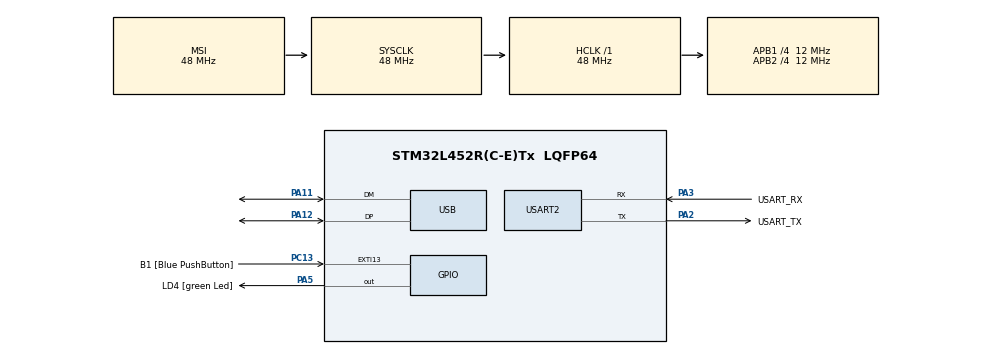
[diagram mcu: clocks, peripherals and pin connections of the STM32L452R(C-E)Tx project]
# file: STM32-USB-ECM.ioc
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FREERTOS.HEAP_NUMBER=3
FREERTOS.INCLUDE_uxTaskGetStackHighWaterMark2=1
FREERTOS.Tasks01=defaultTask,24,256,StartDefaultTask,Default,NULL,Static,defaultTaskBuffer,defaultTaskControlBlock;taskUSBReceive,8,256,StartTaskUSBReceive,Default,NULL,Static,taskUSBReceiveBuffer,taskUSBReceiveControlBlock
FREERTOS.configENABLE_BACKWARD_COMPATIBILITY=0
FREERTOS.configTOTAL_HEAP_SIZE=16000
FREERTOS.configUSE_NEWLIB_REENTRANT=1
FREERTOS.configUSE_POSIX_ERRNO=1
Mcu.Family=STM32L4
Mcu.Name=STM32L452R(C-E)Tx
Mcu.Package=LQFP64
NVIC.PriorityGroup=NVIC_PRIORITYGROUP_4
NVIC.TIM6_DAC_IRQn=true\:1\:0\:true\:false\:true\:false\:false\:true\:true
NVIC.TimeBase=TIM6_DAC_IRQn
NVIC.TimeBaseIP=TIM6
NVIC.USART2_IRQn=true\:6\:0\:true\:false\:true\:true\:true\:true\:true
NVIC.USB_IRQn=true\:7\:0\:true\:false\:true\:true\:true\:true\:true
PA11.Mode=Device
PA11.Signal=USB_DM
PA12.Mode=Device
PA12.Signal=USB_DP
PA13\ (JTMS/SWDIO).GPIO_Label=TMS
PA13\ (JTMS/SWDIO).Mode=Trace_Asynchronous_SW
PA13\ (JTMS/SWDIO).Signal=SYS_JTMS-SWDIO
PA14\ (JTCK/SWCLK).GPIO_Label=TCK
PA14\ (JTCK/SWCLK).Mode=Trace_Asynchronous_SW
PA14\ (JTCK/SWCLK).Signal=SYS_JTCK-SWCLK
PA2.GPIO_Label=USART_TX
PA2.GPIO_Mode=GPIO_MODE_AF_PP
PA2.GPIO_PuPd=GPIO_NOPULL
PA2.GPIO_Speed=GPIO_SPEED_FREQ_VERY_HIGH
PA2.Mode=Asynchronous
PA2.Signal=USART2_TX
PA3.GPIO_Label=USART_RX
PA3.GPIO_Mode=GPIO_MODE_AF_PP
PA3.GPIO_PuPd=GPIO_NOPULL
PA3.GPIO_Speed=GPIO_SPEED_FREQ_VERY_HIGH
PA3.Mode=Asynchronous
PA3.Signal=USART2_RX
PA5.GPIO_Label=LD4 [green Led]
PA5.GPIO_ModeDefaultOutputPP=GPIO_MODE_OUTPUT_PP
PA5.GPIO_PuPd=GPIO_NOPULL
PA5.GPIO_Speed=GPIO_SPEED_FREQ_LOW
PA5.Signal=GPIO_Output
PB3\ (JTDO/TRACESWO).GPIO_Label=SWO
PB3\ (JTDO/TRACESWO).Mode=Trace_Asynchronous_SW
PB3\ (JTDO/TRACESWO).Signal=SYS_JTDO-SWO
PC13.GPIO_Label=B1 [Blue PushButton]
PC13.GPIO_ModeDefaultEXTI=GPIO_MODE_IT_FALLING
PC13.GPIO_PuPd=GPIO_NOPULL
PC13.Signal=GPXTI13
PC14-OSC32_IN\ (PC14).Signal=RCC_OSC32_IN
PC15-OSC32_OUT\ (PC15).Signal=RCC_OSC32_OUT
PH0-OSC_IN\ (PH0).Signal=RCC_OSC_IN
PH1-OSC_OUT\ (PH1).Signal=RCC_OSC_OUT
ProjectManager.HeapSize=0x200
ProjectManager.StackSize=0x400
ProjectManager.TargetToolchain=STM32CubeIDE
RCC.ADCFreq_Value=96000000
RCC.AHBFreq_Value=48000000
RCC.APB1CLKDivider=RCC_HCLK_DIV4
RCC.APB1Freq_Value=12000000
RCC.APB1TimFreq_Value=24000000
RCC.APB2CLKDivider=RCC_HCLK_DIV4
RCC.APB2Freq_Value=12000000
RCC.APB2TimFreq_Value=24000000
RCC.CK48CLockSelection=RCC_USBCLKSOURCE_HSI48
RCC.CortexFreq_Value=48000000
RCC.HCLKFreq_Value=48000000
RCC.HSE_VALUE=8000000
RCC.HSI48_VALUE=48000000
RCC.HSI_VALUE=16000000
RCC.LSE_VALUE=32768
RCC.MSIClockRange=RCC_MSIRANGE_11
RCC.MSI_VALUE=48000000
RCC.PLLN=12
RCC.PLLSAI1N=12
RCC.PLLSourceVirtual=RCC_PLLSOURCE_HSI
RCC.PREFETCH_ENABLE=1
RCC.SYSCLKFreq_VALUE=48000000
RCC.USBFreq_Value=48000000
RCC.VCOOutputFreq_Value=192000000
USART2.VirtualMode-Asynchronous=VM_ASYNC
USB_DEVICE.CLASS_NAME_FS=CDC
USB_DEVICE.PRODUCT_STRING_CDC_FS=STM32 USB ECM Ethernet
USB_DEVICE.USBD_SELF_POWERED=1
USB_DEVICE.VirtualMode=Cdc
USB_DEVICE.VirtualModeFS=Cdc_FS
VP_FREERTOS_VS_CMSIS_V2.Mode=CMSIS_V2
VP_RCC_USB.Mode=CRS SYNC Source USB
VP_SYS_VS_tim6.Mode=TIM6
VP_USB_DEVICE_VS_USB_DEVICE_CDC_FS.Mode=CDC_FS
board=NUCLEO-L452RE

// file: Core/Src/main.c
/* USER CODE BEGIN Header */
/**
  ******************************************************************************
  * @file           : main.c
  * @brief          : Main program body
  ******************************************************************************
  * @attention
  *
  * Copyright (c) 2023 STMicroelectronics.
  * All rights reserved.
  *
  * This software is licensed under terms that can be found in the LICENSE file
  * in the root directory of this software component.
  * If no LICENSE file comes with this software, it is provided AS-IS.
  *
  ******************************************************************************
  */
/* USER CODE END Header */
#include "main.h"
#include "cmsis_os.h"
#include "usart.h"
#include "usb_device.h"
#include "gpio.h"

/* USER CODE BEGIN Includes */
#include <stdlib.h>
#include "usbd_cdc_ecm_if.h"
/* USER CODE END Includes */

void SystemClock_Config(void);
void MX_FREERTOS_Init(void);

/* USER CODE BEGIN 0 */
int __io_putchar(int ch) {
	 ITM_SendChar(ch);
	 return ch;
}
/* USER CODE END 0 */

int main(void)
{
  /* USER CODE BEGIN 1 */
	srand(123457);
//	printf ("rand() = %d\n",rand());
  /* USER CODE END 1 */

  /* MCU Configuration--------------------------------------------------------*/

  /* Reset of all peripherals, Initializes the Flash interface and the Systick. */
  HAL_Init();

  /* Configure the system clock */
  SystemClock_Config();

  /* Initialize all configured peripherals */
  MX_GPIO_Init();
  MX_USART2_UART_Init();

  /* Init scheduler */
  osKernelInitialize();  /* Call init function for freertos objects (in freertos.c) */
  MX_FREERTOS_Init();

  /* Start scheduler */
  osKernelStart();

  /* We should never get here as control is now taken by the scheduler */
  /* Infinite loop */
  while (1)
  {

  }
}

void SystemClock_Config(void)
{
  RCC_OscInitTypeDef RCC_OscInitStruct = {0};
  RCC_ClkInitTypeDef RCC_ClkInitStruct = {0};
  RCC_CRSInitTypeDef RCC_CRSInitStruct = {0};

  /** Configure the main internal regulator output voltage
  */
  if (HAL_PWREx_ControlVoltageScaling(PWR_REGULATOR_VOLTAGE_SCALE1) != HAL_OK)
  {
    Error_Handler();
  }

  /** Initializes the RCC Oscillators according to the specified parameters
  * in the RCC_OscInitTypeDef structure.
  */
  RCC_OscInitStruct.OscillatorType = RCC_OSCILLATORTYPE_HSI48|RCC_OSCILLATORTYPE_MSI;
  RCC_OscInitStruct.HSI48State = RCC_HSI48_ON;
  RCC_OscInitStruct.MSIState = RCC_MSI_ON;
  RCC_OscInitStruct.MSICalibrationValue = 0;
  RCC_OscInitStruct.MSIClockRange = RCC_MSIRANGE_11;
  RCC_OscInitStruct.PLL.PLLState = RCC_PLL_NONE;
  if (HAL_RCC_OscConfig(&RCC_OscInitStruct) != HAL_OK)
  {
    Error_Handler();
  }

  /** Initializes the CPU, AHB and APB buses clocks
  */
  RCC_ClkInitStruct.ClockType = RCC_CLOCKTYPE_HCLK|RCC_CLOCKTYPE_SYSCLK
                              |RCC_CLOCKTYPE_PCLK1|RCC_CLOCKTYPE_PCLK2;
  RCC_ClkInitStruct.SYSCLKSource = RCC_SYSCLKSOURCE_MSI;
  RCC_ClkInitStruct.AHBCLKDivider = RCC_SYSCLK_DIV1;
  RCC_ClkInitStruct.APB1CLKDivider = RCC_HCLK_DIV4;
  RCC_ClkInitStruct.APB2CLKDivider = RCC_HCLK_DIV4;

  if (HAL_RCC_ClockConfig(&RCC_ClkInitStruct, FLASH_LATENCY_2) != HAL_OK)
  {
    Error_Handler();
  }

  /** Enable the SYSCFG APB clock
  */
  __HAL_RCC_CRS_CLK_ENABLE();

  /** Configures CRS
  */
  RCC_CRSInitStruct.Prescaler = RCC_CRS_SYNC_DIV1;
  RCC_CRSInitStruct.Source = RCC_CRS_SYNC_SOURCE_USB;
  RCC_CRSInitStruct.Polarity = RCC_CRS_SYNC_POLARITY_RISING;
  RCC_CRSInitStruct.ReloadValue = __HAL_RCC_CRS_RELOADVALUE_CALCULATE(48000000,1000);
  RCC_CRSInitStruct.ErrorLimitValue = 34;
  RCC_CRSInitStruct.HSI48CalibrationValue = 32;

  HAL_RCCEx_CRSConfig(&RCC_CRSInitStruct);
}

void HAL_TIM_PeriodElapsedCallback(TIM_HandleTypeDef *htim)
{
  if (htim->Instance == TIM6) {
    HAL_IncTick();
  }
}

void Error_Handler(void)
{
  __disable_irq();
  while (1)
  {
  }
}

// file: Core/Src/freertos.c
/* USER CODE BEGIN Header */
/**
  ******************************************************************************
  * File Name          : freertos.c
  * Description        : Code for freertos applications
  ******************************************************************************
  * @attention
  *
  * Copyright (c) 2023 STMicroelectronics.
  * All rights reserved.
  *
  * This software is licensed under terms that can be found in the LICENSE file
  * in the root directory of this software component.
  * If no LICENSE file comes with this software, it is provided AS-IS.
  *
  ******************************************************************************
  */
/* USER CODE END Header */

#include "FreeRTOS.h"
#include "task.h"
#include "main.h"
#include "cmsis_os.h"

/* USER CODE BEGIN Includes */
#include "usbd_cdc_ecm_if.h"

#include <stdio.h>
#include <stdlib.h>
#include <sys/lock.h>
/* USER CODE END Includes */

typedef StaticTask_t osStaticThreadDef_t;

/* Definitions for defaultTask */
osThreadId_t defaultTaskHandle;
uint32_t defaultTaskBuffer[ 256 ];
osStaticThreadDef_t defaultTaskControlBlock;
const osThreadAttr_t defaultTask_attributes = {
  .name = "defaultTask",
  .cb_mem = &defaultTaskControlBlock,
  .cb_size = sizeof(defaultTaskControlBlock),
  .stack_mem = &defaultTaskBuffer[0],
  .stack_size = sizeof(defaultTaskBuffer),
  .priority = (osPriority_t) osPriorityNormal,
};
/* Definitions for taskUSBReceive */
osThreadId_t taskUSBReceiveHandle;
uint32_t taskUSBReceiveBuffer[ 256 ];
osStaticThreadDef_t taskUSBReceiveControlBlock;
const osThreadAttr_t taskUSBReceive_attributes = {
  .name = "taskUSBReceive",
  .cb_mem = &taskUSBReceiveControlBlock,
  .cb_size = sizeof(taskUSBReceiveControlBlock),
  .stack_mem = &taskUSBReceiveBuffer[0],
  .stack_size = sizeof(taskUSBReceiveBuffer),
  .priority = (osPriority_t) osPriorityLow,
};

void StartDefaultTask(void *argument);
void StartTaskUSBReceive(void *argument);

extern void MX_USB_DEVICE_Init(void);
void MX_FREERTOS_Init(void); /* (MISRA C 2004 rule 8.1) */

void MX_FREERTOS_Init(void) {

  /* USER CODE BEGIN RTOS_MUTEX */
  /* add mutexes, ... */
	if (!stdout->_lock) {
		__lock_init_recursive(stdout->_lock);
	}
	if (!stdin->_lock) {
		__lock_init_recursive(stdin->_lock);
	}
	if (!stderr->_lock) {
		__lock_init_recursive(stderr->_lock);
	}
  /* USER CODE END RTOS_MUTEX */

  /* USER CODE BEGIN RTOS_QUEUES */
  /* add queues, ... */
	CDC_ECM_StaticInit ();
  /* USER CODE END RTOS_QUEUES */

  /* Create the thread(s) */
  /* creation of defaultTask */
  defaultTaskHandle = osThreadNew(StartDefaultTask, NULL, &defaultTask_attributes);

  /* creation of taskUSBReceive */
  taskUSBReceiveHandle = osThreadNew(StartTaskUSBReceive, NULL, &taskUSBReceive_attributes);

}

void StartDefaultTask(void *argument)
{
  /* init code for USB_DEVICE */
  MX_USB_DEVICE_Init();
  /* USER CODE BEGIN StartDefaultTask */

  /* Infinite loop */
  for(;;)
  {
    osDelay(2000);
  }
  /* USER CODE END StartDefaultTask */
}

void StartTaskUSBReceive(void *argument)
{
  /* USER CODE BEGIN StartTaskUSBReceive */

	/*
	 * The task should disappear in here for ever
	 */
	CDC_ECM_LWIPInputLoop ();

  /* Infinite loop */
  for(;;)
  {
    osDelay(1);
  }
  /* USER CODE END StartTaskUSBReceive */
}

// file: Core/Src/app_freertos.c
/* USER CODE BEGIN Header */
/**
  ******************************************************************************
  * File Name          : app_freertos.c
  * Description        : Code for freertos applications
  ******************************************************************************
  * @attention
  *
  * Copyright (c) 2023 STMicroelectronics.
  * All rights reserved.
  *
  * This software is licensed under terms that can be found in the LICENSE file
  * in the root directory of this software component.
  * If no LICENSE file comes with this software, it is provided AS-IS.
  *
  ******************************************************************************
  */
/* USER CODE END Header */

#include "FreeRTOS.h"
#include "task.h"
#include "main.h"
#include "cmsis_os.h"

/* USER CODE BEGIN Includes */
#include "usbd_cdc_rndis_if.h"

#include <stdio.h>
#include <stdlib.h>
#include <sys/lock.h>
/* USER CODE END Includes */

typedef StaticTask_t osStaticThreadDef_t;

/* Definitions for defaultTask */
osThreadId_t defaultTaskHandle;
uint32_t defaultTaskBuffer[ 128 ];
osStaticThreadDef_t defaultTaskControlBlock;
const osThreadAttr_t defaultTask_attributes = {
  .name = "defaultTask",
  .stack_mem = &defaultTaskBuffer[0],
  .stack_size = sizeof(defaultTaskBuffer),
  .cb_mem = &defaultTaskControlBlock,
  .cb_size = sizeof(defaultTaskControlBlock),
  .priority = (osPriority_t) osPriorityNormal,
};
/* Definitions for taskUSBReceive */
osThreadId_t taskUSBReceiveHandle;
uint32_t taskUSBReceiveBuffer[ 256 ];
osStaticThreadDef_t taskUSBReceiveControlBlock;
const osThreadAttr_t taskUSBReceive_attributes = {
  .name = "taskUSBReceive",
  .stack_mem = &taskUSBReceiveBuffer[0],
  .stack_size = sizeof(taskUSBReceiveBuffer),
  .cb_mem = &taskUSBReceiveControlBlock,
  .cb_size = sizeof(taskUSBReceiveControlBlock),
  .priority = (osPriority_t) osPriorityNormal,
};

void StartDefaultTask(void *argument);
void StartTaskUSBReceive(void *argument);

void MX_FREERTOS_Init(void); /* (MISRA C 2004 rule 8.1) */

void MX_FREERTOS_Init(void) {

  /* USER CODE BEGIN RTOS_MUTEX */
  /* add mutexes, ... */
	if (!stdout->_lock) {
		__lock_init_recursive(stdout->_lock);
	}
	if (!stdin->_lock) {
		__lock_init_recursive(stdin->_lock);
	}
	if (!stderr->_lock) {
		__lock_init_recursive(stderr->_lock);
	}
  /* USER CODE END RTOS_MUTEX */

  /* USER CODE BEGIN RTOS_QUEUES */
  /* add queues, ... */
	CDC_RNDIS_StaticInit ();
  /* USER CODE END RTOS_QUEUES */

  /* Create the thread(s) */
  /* creation of defaultTask */
  defaultTaskHandle = osThreadNew(StartDefaultTask, NULL, &defaultTask_attributes);

  /* creation of taskUSBReceive */
  taskUSBReceiveHandle = osThreadNew(StartTaskUSBReceive, NULL, &taskUSBReceive_attributes);

}

void StartDefaultTask(void *argument)
{
  /* USER CODE BEGIN StartDefaultTask */
  /* Infinite loop */
  for(;;)
  {
    osDelay(2000);
  }
  /* USER CODE END StartDefaultTask */
}

void StartTaskUSBReceive(void *argument)
{
  /* USER CODE BEGIN StartTaskUSBReceive */

	/*
	 * The task should disappear in here for ever
	 */
	CDC_RNDIS_LWIPInputLoop ();

  /* Infinite loop */
  for(;;)
  {
    osDelay(1);
  }
  /* USER CODE END StartTaskUSBReceive */
}
